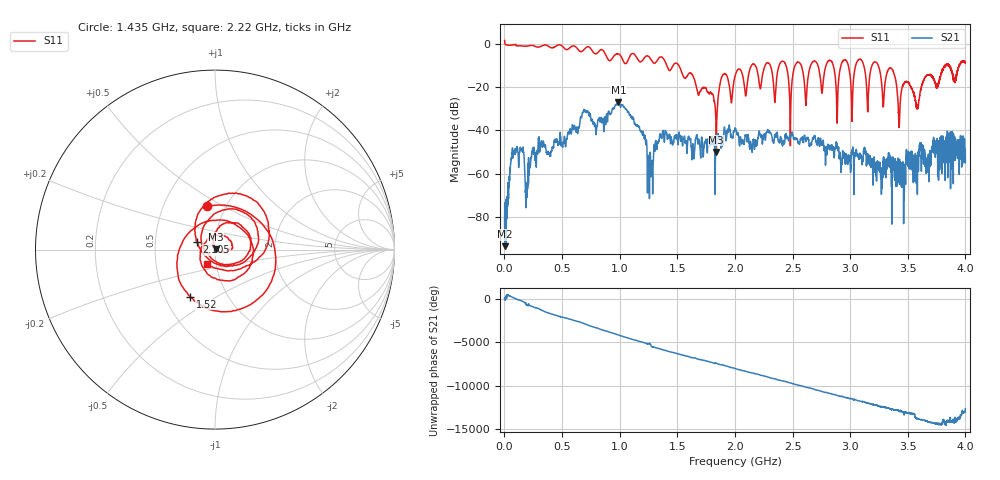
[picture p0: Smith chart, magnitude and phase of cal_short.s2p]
!Created with skrf (http://scikit-rf.org).
# GHz S RI R 50.0
!freq ReS11 ImS11 ReS21 ImS21 ReS12 ImS12 ReS22 ImS22
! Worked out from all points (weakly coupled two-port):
!   4000 points, 1 MHz to 4 GHz, reference 50 ohm
!   highest |S21| = -27.02 dB at 989 MHz (marker M1); lowest = -93.7 dB at 5 MHz (marker M2)
!   lowest |S11| = -50.0 dB at 1.838 GHz (marker M3), VSWR 1.01, Z = 50.3 + j0.145 ohm
!   |S11| at or under -10 dB: 1.514 GHz to 2.142 GHz (628.1 MHz wide, 34.4 % of centre); 2.179 GHz to 2.261 GHz (81.85 MHz wide, 3.69 % of centre); 3.245 GHz to 3.822 GHz (576.5 MHz wide, 16.3 % of centre) (the widest 3 of 17)
!   S12 and S22 are empty: the file has one direction only
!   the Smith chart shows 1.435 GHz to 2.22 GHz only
!   S11 on the Smith chart (normalised r, x): 1.435 GHz: 0.81, +0.42; 1.52 GHz: 0.67, -0.38; 2.105 GHz: 0.82, +0.07; 2.22 GHz: 0.90, -0.15
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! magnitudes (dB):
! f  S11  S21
! 1 MHz  1.8  -84.7
! 5 MHz  0.2  -93.7
! 89 MHz  -0.1  -48.6
! 196 MHz  -0.8  -66.0
! 310 MHz  -1.1  -46.5
! 668 MHz  -3.4  -34.2
! 989 MHz  -4.5  -27.0
! 1.258 GHz  -6.1  -71.6
! 1.334 GHz  -6.8  -45.4
! 1.435 GHz  -12.2  -42.3
! 1.52 GHz  -10.6  -42.7
! 1.838 GHz  -50.0  -46.0
! 2.001 GHz  -14.9  -38.9
! 2.105 GHz  -19.3  -44.9
! 2.22 GHz  -20.6  -42.1
! 2.667 GHz  -8.8  -45.1
! 2.886 GHz  -35.8  -47.4
! 2.948 GHz  -7.3  -51.0
! 3.015 GHz  -35.5  -50.9
! 3.334 GHz  -11.4  -52.8
! 3.582 GHz  -28.4  -53.7
! 4 GHz  -8.3  -55.0
